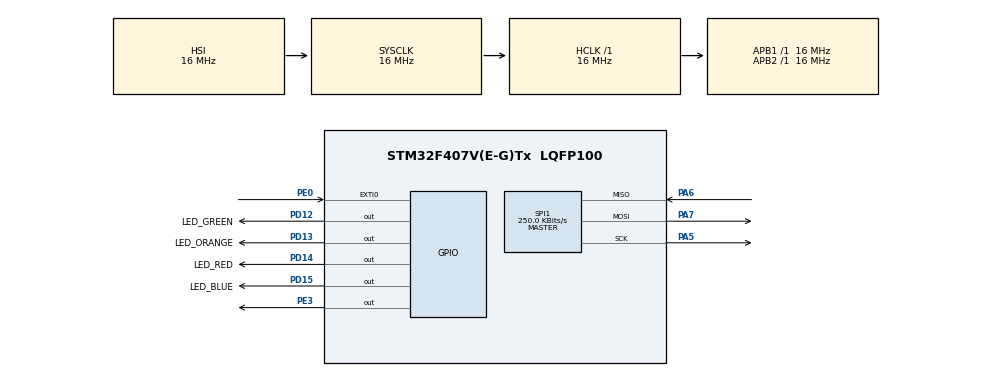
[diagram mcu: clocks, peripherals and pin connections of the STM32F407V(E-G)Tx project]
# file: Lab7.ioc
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Mcu.Family=STM32F4
Mcu.Name=STM32F407V(E-G)Tx
Mcu.Package=LQFP100
NVIC.EXTI0_IRQn=true\:0\:0\:false\:false\:true\:true\:true\:true
NVIC.PriorityGroup=NVIC_PRIORITYGROUP_4
PA5.Mode=Full_Duplex_Master
PA5.Signal=SPI1_SCK
PA6.Mode=Full_Duplex_Master
PA6.Signal=SPI1_MISO
PA7.Mode=Full_Duplex_Master
PA7.Signal=SPI1_MOSI
PD12.GPIO_Label=LED_GREEN
PD12.Signal=GPIO_Output
PD13.GPIO_Label=LED_ORANGE
PD13.Signal=GPIO_Output
PD14.GPIO_Label=LED_RED
PD14.Signal=GPIO_Output
PD15.GPIO_Label=LED_BLUE
PD15.Signal=GPIO_Output
PE0.Signal=GPXTI0
PE3.Signal=GPIO_Output
ProjectManager.HeapSize=0x200
ProjectManager.StackSize=0x400
ProjectManager.TargetToolchain=STM32CubeIDE
RCC.AHBFreq_Value=16000000
RCC.APB1Freq_Value=16000000
RCC.APB2Freq_Value=16000000
RCC.CortexFreq_Value=16000000
RCC.HSE_VALUE=25000000
RCC.HSI_VALUE=16000000
RCC.LSE_VALUE=32768
RCC.SYSCLKFreq_VALUE=16000000
RCC.VCOOutputFreq_Value=192000000
SPI1.BaudRatePrescaler=SPI_BAUDRATEPRESCALER_64
SPI1.CalculateBaudRate=250.0 KBits/s
SPI1.Direction=SPI_DIRECTION_2LINES
SPI1.Mode=SPI_MODE_MASTER
SPI1.VirtualType=VM_MASTER
board=custom

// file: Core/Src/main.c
/* USER CODE BEGIN Header */
/**
  ******************************************************************************
  * @file           : main.c
  * @brief          : Main program body
  ******************************************************************************
  * @attention
  *
  * Copyright (c) 2023 STMicroelectronics.
  * All rights reserved.
  *
  * This software is licensed under terms that can be found in the LICENSE file
  * in the root directory of this software component.
  * If no LICENSE file comes with this software, it is provided AS-IS.
  *
  ******************************************************************************
  */
/* USER CODE END Header */
#include "main.h"

/* USER CODE BEGIN Includes */

#include "MY_LIS3DSH.h"

/* USER CODE END Includes */

SPI_HandleTypeDef hspi1;

/* USER CODE BEGIN PV */

LIS3DSH_DataScaled myData;
uint8_t drdyFlag=0;

/* USER CODE END PV */

void SystemClock_Config(void);
static void MX_GPIO_Init(void);
static void MX_SPI1_Init(void);

/* USER CODE BEGIN 0 */

void HAL_GPIO_EXTI_Callback(uint16_t GPIO_Pin)
{
  /* Prevent unused argument(s) compilation warning */
  UNUSED(GPIO_Pin);
  /* NOTE: This function Should not be modified, when the callback is needed,
           the HAL_GPIO_EXTI_Callback could be implemented in the user file
   */

  drdyFlag = 1;
}

/* USER CODE END 0 */

int main(void)
{

  /* MCU Configuration--------------------------------------------------------*/

  /* Reset of all peripherals, Initializes the Flash interface and the Systick. */
  HAL_Init();

  /* Configure the system clock */
  SystemClock_Config();

  /* Initialize all configured peripherals */
  MX_GPIO_Init();
  MX_SPI1_Init();
  /* USER CODE BEGIN 2 */

  LIS3DSH_InitTypeDef myAccConfigDef;

  myAccConfigDef.dataRate = LIS3DSH_DATARATE_25;
  myAccConfigDef.fullScale = LIS3DSH_FULLSCALE_4;
  myAccConfigDef.antiAliasingBW = LIS3DSH_FILTER_BW_50;
  myAccConfigDef.enableAxes = LIS3DSH_XYZ_ENABLE;
  myAccConfigDef.interruptEnable = true;
  LIS3DSH_Init(&hspi1, &myAccConfigDef);

  LIS3DSH_X_calibrate(-992.0, 1052.0);
  LIS3DSH_Y_calibrate(-989.0, 1055.0);
  LIS3DSH_Z_calibrate(0.0, 2028.0);

  /* USER CODE END 2 */

  /* Infinite loop */
  /* USER CODE BEGIN WHILE */
  while (1)
  {
	  if(drdyFlag == 1)
	 	  {
	 		  myData = LIS3DSH_GetDataScaled();
	 		  drdyFlag = 0;

	 		 if (myData.z > -1000){

				  HAL_GPIO_WritePin(GPIOD, LED_BLUE_Pin, GPIO_PIN_RESET);
				  HAL_GPIO_WritePin(GPIOD, LED_RED_Pin, GPIO_PIN_RESET);
				  HAL_GPIO_WritePin(GPIOD, LED_ORANGE_Pin, GPIO_PIN_RESET);
				  HAL_GPIO_WritePin(GPIOD, LED_GREEN_Pin, GPIO_PIN_RESET);

				  if (myData.x > 50)
				  {
					 HAL_GPIO_WritePin(GPIOD, LED_RED_Pin, GPIO_PIN_SET);
				  } else if (myData.x < -50)
				  {
					 HAL_GPIO_WritePin(GPIOD, LED_GREEN_Pin, GPIO_PIN_SET);
				  }

				  if (myData.y > 50)
				  {
					 HAL_GPIO_WritePin(GPIOD, LED_ORANGE_Pin, GPIO_PIN_SET);
				  } else if (myData.y < -50)
				  {
					 HAL_GPIO_WritePin(GPIOD, LED_BLUE_Pin, GPIO_PIN_SET);
				  }

	 		 }
	 		 else {

				  HAL_GPIO_WritePin(GPIOD, LED_BLUE_Pin, GPIO_PIN_SET);
				  HAL_GPIO_WritePin(GPIOD, LED_RED_Pin, GPIO_PIN_SET);
				  HAL_GPIO_WritePin(GPIOD, LED_ORANGE_Pin, GPIO_PIN_SET);
				  HAL_GPIO_WritePin(GPIOD, LED_GREEN_Pin, GPIO_PIN_SET);
	 		 }

	 	  }
    /* USER CODE END WHILE */

  }
}

void SystemClock_Config(void)
{
  RCC_OscInitTypeDef RCC_OscInitStruct = {0};
  RCC_ClkInitTypeDef RCC_ClkInitStruct = {0};

  /** Configure the main internal regulator output voltage
  */
  __HAL_RCC_PWR_CLK_ENABLE();
  __HAL_PWR_VOLTAGESCALING_CONFIG(PWR_REGULATOR_VOLTAGE_SCALE1);

  /** Initializes the RCC Oscillators according to the specified parameters
  * in the RCC_OscInitTypeDef structure.
  */
  RCC_OscInitStruct.OscillatorType = RCC_OSCILLATORTYPE_HSI;
  RCC_OscInitStruct.HSIState = RCC_HSI_ON;
  RCC_OscInitStruct.HSICalibrationValue = RCC_HSICALIBRATION_DEFAULT;
  RCC_OscInitStruct.PLL.PLLState = RCC_PLL_NONE;
  if (HAL_RCC_OscConfig(&RCC_OscInitStruct) != HAL_OK)
  {
    Error_Handler();
  }

  /** Initializes the CPU, AHB and APB buses clocks
  */
  RCC_ClkInitStruct.ClockType = RCC_CLOCKTYPE_HCLK|RCC_CLOCKTYPE_SYSCLK
                              |RCC_CLOCKTYPE_PCLK1|RCC_CLOCKTYPE_PCLK2;
  RCC_ClkInitStruct.SYSCLKSource = RCC_SYSCLKSOURCE_HSI;
  RCC_ClkInitStruct.AHBCLKDivider = RCC_SYSCLK_DIV1;
  RCC_ClkInitStruct.APB1CLKDivider = RCC_HCLK_DIV1;
  RCC_ClkInitStruct.APB2CLKDivider = RCC_HCLK_DIV1;

  if (HAL_RCC_ClockConfig(&RCC_ClkInitStruct, FLASH_LATENCY_0) != HAL_OK)
  {
    Error_Handler();
  }
}

static void MX_SPI1_Init(void)
{

  /* SPI1 parameter configuration*/
  hspi1.Instance = SPI1;
  hspi1.Init.Mode = SPI_MODE_MASTER;
  hspi1.Init.Direction = SPI_DIRECTION_2LINES;
  hspi1.Init.DataSize = SPI_DATASIZE_8BIT;
  hspi1.Init.CLKPolarity = SPI_POLARITY_LOW;
  hspi1.Init.CLKPhase = SPI_PHASE_1EDGE;
  hspi1.Init.NSS = SPI_NSS_SOFT;
  hspi1.Init.BaudRatePrescaler = SPI_BAUDRATEPRESCALER_64;
  hspi1.Init.FirstBit = SPI_FIRSTBIT_MSB;
  hspi1.Init.TIMode = SPI_TIMODE_DISABLE;
  hspi1.Init.CRCCalculation = SPI_CRCCALCULATION_DISABLE;
  hspi1.Init.CRCPolynomial = 10;
  if (HAL_SPI_Init(&hspi1) != HAL_OK)
  {
    Error_Handler();
  }

}

static void MX_GPIO_Init(void)
{
  GPIO_InitTypeDef GPIO_InitStruct = {0};

  /* GPIO Ports Clock Enable */
  __HAL_RCC_GPIOE_CLK_ENABLE();
  __HAL_RCC_GPIOA_CLK_ENABLE();
  __HAL_RCC_GPIOD_CLK_ENABLE();

  /*Configure GPIO pin Output Level */
  HAL_GPIO_WritePin(GPIOE, GPIO_PIN_3, GPIO_PIN_RESET);

  /*Configure GPIO pin Output Level */
  HAL_GPIO_WritePin(GPIOD, LED_GREEN_Pin|LED_ORANGE_Pin|LED_RED_Pin|LED_BLUE_Pin, GPIO_PIN_RESET);

  /*Configure GPIO pin : PE3 */
  GPIO_InitStruct.Pin = GPIO_PIN_3;
  GPIO_InitStruct.Mode = GPIO_MODE_OUTPUT_PP;
  GPIO_InitStruct.Pull = GPIO_NOPULL;
  GPIO_InitStruct.Speed = GPIO_SPEED_FREQ_LOW;
  HAL_GPIO_Init(GPIOE, &GPIO_InitStruct);

  /*Configure GPIO pins : LED_GREEN_Pin LED_ORANGE_Pin LED_RED_Pin LED_BLUE_Pin */
  GPIO_InitStruct.Pin = LED_GREEN_Pin|LED_ORANGE_Pin|LED_RED_Pin|LED_BLUE_Pin;
  GPIO_InitStruct.Mode = GPIO_MODE_OUTPUT_PP;
  GPIO_InitStruct.Pull = GPIO_NOPULL;
  GPIO_InitStruct.Speed = GPIO_SPEED_FREQ_LOW;
  HAL_GPIO_Init(GPIOD, &GPIO_InitStruct);

  /*Configure GPIO pin : PE0 */
  GPIO_InitStruct.Pin = GPIO_PIN_0;
  GPIO_InitStruct.Mode = GPIO_MODE_IT_RISING;
  GPIO_InitStruct.Pull = GPIO_NOPULL;
  HAL_GPIO_Init(GPIOE, &GPIO_InitStruct);

  /* EXTI interrupt init*/
  HAL_NVIC_SetPriority(EXTI0_IRQn, 0, 0);
  HAL_NVIC_EnableIRQ(EXTI0_IRQn);

}

void Error_Handler(void)
{
  __disable_irq();
  while (1)
  {
  }
}
